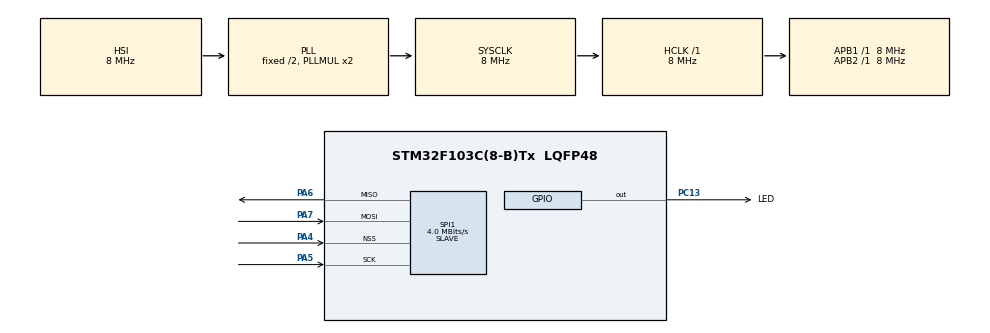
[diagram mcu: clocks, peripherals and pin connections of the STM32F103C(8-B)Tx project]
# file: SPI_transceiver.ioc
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Dma.Request0=SPI1_TX
Dma.SPI1_TX.0.Direction=DMA_MEMORY_TO_PERIPH
Dma.SPI1_TX.0.Instance=DMA1_Channel3
Dma.SPI1_TX.0.MemDataAlignment=DMA_MDATAALIGN_BYTE
Dma.SPI1_TX.0.MemInc=DMA_MINC_ENABLE
Dma.SPI1_TX.0.Mode=DMA_NORMAL
Dma.SPI1_TX.0.PeriphDataAlignment=DMA_PDATAALIGN_BYTE
Dma.SPI1_TX.0.PeriphInc=DMA_PINC_DISABLE
Dma.SPI1_TX.0.Priority=DMA_PRIORITY_LOW
Mcu.Family=STM32F1
Mcu.Name=STM32F103C(8-B)Tx
Mcu.Package=LQFP48
NVIC.DMA1_Channel3_IRQn=true\:0\:0\:false\:false\:true\:false\:true
NVIC.PriorityGroup=NVIC_PRIORITYGROUP_4
NVIC.SPI1_IRQn=true\:0\:0\:false\:false\:true\:true\:true
PA13.Mode=Serial_Wire
PA13.Signal=SYS_JTMS-SWDIO
PA14.Mode=Serial_Wire
PA14.Signal=SYS_JTCK-SWCLK
PA4.Mode=NSS_Signal_Hard_Input
PA4.Signal=SPI1_NSS
PA5.Mode=Full_Duplex_Slave
PA5.Signal=SPI1_SCK
PA6.Mode=Full_Duplex_Slave
PA6.Signal=SPI1_MISO
PA7.Mode=Full_Duplex_Slave
PA7.Signal=SPI1_MOSI
PC13-TAMPER-RTC.GPIO_Label=LED
PC13-TAMPER-RTC.GPIO_PuPd=GPIO_PULLDOWN
PC13-TAMPER-RTC.Signal=GPIO_Output
ProjectManager.HeapSize=0x200
ProjectManager.StackSize=0x400
ProjectManager.TargetToolchain=STM32CubeIDE
RCC.AHBFreq_Value=8000000
RCC.APB1Freq_Value=8000000
RCC.APB1TimFreq_Value=8000000
RCC.APB2Freq_Value=8000000
RCC.APB2TimFreq_Value=8000000
RCC.HCLKFreq_Value=8000000
RCC.SYSCLKFreq_VALUE=8000000
RCC.SYSCLKSource=RCC_SYSCLKSOURCE_PLLCLK
RCC.USBFreq_Value=8000000
SPI1.CalculateBaudRate=4.0 MBits/s
SPI1.Direction=SPI_DIRECTION_2LINES
SPI1.Mode=SPI_MODE_SLAVE
SPI1.VirtualNSS=VM_NSSHARD
SPI1.VirtualType=VM_SLAVE
board=custom

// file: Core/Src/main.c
/* USER CODE BEGIN Header */
/**
  ******************************************************************************
  * @file           : main.c
  * @brief          : Main program body
  ******************************************************************************
  * @attention
  *
  * <h2><center>&copy; Copyright (c) 2021 STMicroelectronics.
  * All rights reserved.</center></h2>
  *
  * This software component is licensed by ST under BSD 3-Clause license,
  * the "License"; You may not use this file except in compliance with the
  * License. You may obtain a copy of the License at:
  *                        opensource.org/licenses/BSD-3-Clause
  *
  ******************************************************************************
  */
/* USER CODE END Header */
#include "main.h"

SPI_HandleTypeDef hspi1;
DMA_HandleTypeDef hdma_spi1_tx;

void SystemClock_Config(void);
static void MX_GPIO_Init(void);
static void MX_SPI1_Init(void);
static void MX_DMA_Init(void);

/* USER CODE BEGIN 0 */
uint8_t data_rx = 0;

void led_on()
{
  HAL_GPIO_WritePin(LED_GPIO_Port, LED_Pin, GPIO_PIN_RESET);
}

void led_off()
{
  HAL_GPIO_WritePin(LED_GPIO_Port, LED_Pin, GPIO_PIN_SET);
}

void led_toggle()
{
  HAL_GPIO_TogglePin(LED_GPIO_Port, LED_Pin);
}

//volatile uint8_t cs_state = 0;

//void HAL_GPIO_EXTI_Callback( uint16_t GPIO_Pin)
//{
//	if(GPIO_Pin == CS_Pin){
//		cs_state = 1;
//	}
//}

uint8_t transmit_completed = 0;

void HAL_SPI_RxCpltCallback(SPI_HandleTypeDef *hspi)
{
  if(hspi == &hspi1)
  {
	transmit_completed = 1;
    led_toggle();
  }

  // led_toggle();
//  led_on();
}

/* USER CODE END 0 */

int main(void)
{

  /* MCU Configuration--------------------------------------------------------*/

  /* Reset of all peripherals, Initializes the Flash interface and the Systick. */
  HAL_Init();

  /* Configure the system clock */
  SystemClock_Config();

  /* Initialize all configured peripherals */
  MX_GPIO_Init();
  MX_SPI1_Init();
  MX_DMA_Init();
  /* USER CODE BEGIN 2 */
  uint8_t data_tx[256];

  for (int i=0; i<256; i++)
  {
	  data_tx[i] = i;
  }

  led_on();
  HAL_Delay(500);
  led_off();
  HAL_Delay(500);
  led_on();
  /* USER CODE END 2 */

  /* Infinite loop */
  /* USER CODE BEGIN WHILE */
  uint8_t i=0;

  transmit_completed = 1;

  while (1)
  {
	  if (transmit_completed)
	  {
		  transmit_completed = 0;
		  HAL_SPI_Transmit_DMA(&hspi1, &data_tx, sizeof(data_tx));
		  i++;
	  }

//	HAL_SPI_Transmit(&hspi1, &i, sizeof(i), 1000);
//	i++;
//	led_toggle();
//	HAL_Delay(500);
    /* USER CODE END WHILE */

  }
}

void SystemClock_Config(void)
{
  RCC_OscInitTypeDef RCC_OscInitStruct = {0};
  RCC_ClkInitTypeDef RCC_ClkInitStruct = {0};

  /** Initializes the RCC Oscillators according to the specified parameters
  * in the RCC_OscInitTypeDef structure.
  */
  RCC_OscInitStruct.OscillatorType = RCC_OSCILLATORTYPE_HSI;
  RCC_OscInitStruct.HSIState = RCC_HSI_ON;
  RCC_OscInitStruct.HSICalibrationValue = RCC_HSICALIBRATION_DEFAULT;
  RCC_OscInitStruct.PLL.PLLState = RCC_PLL_ON;
  RCC_OscInitStruct.PLL.PLLSource = RCC_PLLSOURCE_HSI_DIV2;
  RCC_OscInitStruct.PLL.PLLMUL = RCC_PLL_MUL2;
  if (HAL_RCC_OscConfig(&RCC_OscInitStruct) != HAL_OK)
  {
    Error_Handler();
  }
  /** Initializes the CPU, AHB and APB buses clocks
  */
  RCC_ClkInitStruct.ClockType = RCC_CLOCKTYPE_HCLK|RCC_CLOCKTYPE_SYSCLK
                              |RCC_CLOCKTYPE_PCLK1|RCC_CLOCKTYPE_PCLK2;
  RCC_ClkInitStruct.SYSCLKSource = RCC_SYSCLKSOURCE_PLLCLK;
  RCC_ClkInitStruct.AHBCLKDivider = RCC_SYSCLK_DIV1;
  RCC_ClkInitStruct.APB1CLKDivider = RCC_HCLK_DIV1;
  RCC_ClkInitStruct.APB2CLKDivider = RCC_HCLK_DIV1;

  if (HAL_RCC_ClockConfig(&RCC_ClkInitStruct, FLASH_LATENCY_0) != HAL_OK)
  {
    Error_Handler();
  }
}

static void MX_SPI1_Init(void)
{

  /* SPI1 parameter configuration*/
  hspi1.Instance = SPI1;
  hspi1.Init.Mode = SPI_MODE_SLAVE;
  hspi1.Init.Direction = SPI_DIRECTION_2LINES;
  hspi1.Init.DataSize = SPI_DATASIZE_8BIT;
  hspi1.Init.CLKPolarity = SPI_POLARITY_LOW;
  hspi1.Init.CLKPhase = SPI_PHASE_1EDGE;
  hspi1.Init.NSS = SPI_NSS_HARD_INPUT;
  hspi1.Init.BaudRatePrescaler = SPI_BAUDRATEPRESCALER_2;
  hspi1.Init.FirstBit = SPI_FIRSTBIT_MSB;
  hspi1.Init.TIMode = SPI_TIMODE_DISABLE;
  hspi1.Init.CRCCalculation = SPI_CRCCALCULATION_DISABLE;
  hspi1.Init.CRCPolynomial = 10;
  if (HAL_SPI_Init(&hspi1) != HAL_OK)
  {
    Error_Handler();
  }

}

static void MX_DMA_Init(void)
{

  /* DMA controller clock enable */
  __HAL_RCC_DMA1_CLK_ENABLE();

  /* DMA interrupt init */
  /* DMA1_Channel3_IRQn interrupt configuration */
  HAL_NVIC_SetPriority(DMA1_Channel3_IRQn, 0, 0);
  HAL_NVIC_EnableIRQ(DMA1_Channel3_IRQn);

}

static void MX_GPIO_Init(void)
{
  GPIO_InitTypeDef GPIO_InitStruct = {0};

  /* GPIO Ports Clock Enable */
  __HAL_RCC_GPIOC_CLK_ENABLE();
  __HAL_RCC_GPIOA_CLK_ENABLE();

  /*Configure GPIO pin Output Level */
  HAL_GPIO_WritePin(LED_GPIO_Port, LED_Pin, GPIO_PIN_RESET);

  /*Configure GPIO pin : LED_Pin */
  GPIO_InitStruct.Pin = LED_Pin;
  GPIO_InitStruct.Mode = GPIO_MODE_OUTPUT_PP;
  GPIO_InitStruct.Pull = GPIO_PULLDOWN;
  GPIO_InitStruct.Speed = GPIO_SPEED_FREQ_LOW;
  HAL_GPIO_Init(LED_GPIO_Port, &GPIO_InitStruct);

}

void Error_Handler(void)
{
  __disable_irq();
  while (1)
  {
  }
}

/************************ (C) COPYRIGHT STMicroelectronics *****END OF FILE****/
